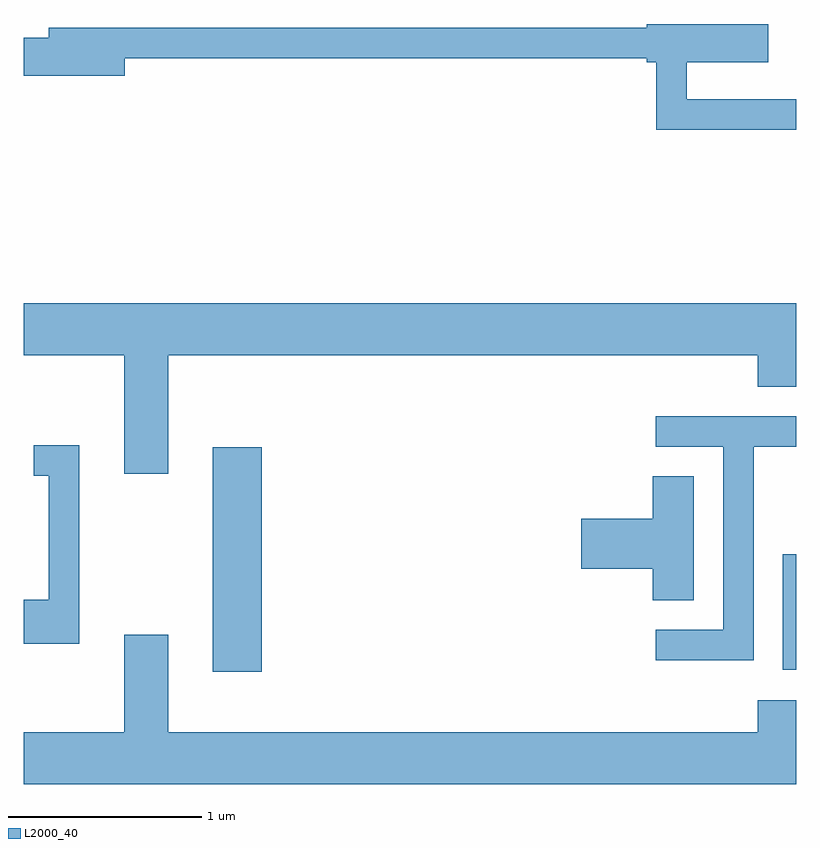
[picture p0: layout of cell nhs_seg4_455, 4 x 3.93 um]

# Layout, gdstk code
import gdstk
lib = gdstk.Library(unit=1e-6, precision=1e-09)
def R(c, l, rs):  # rectangles x0, y0, x1, y1
    for r in rs: c.add(gdstk.rectangle(r[:2], r[2:], *l))
def P(c, l, *ps):  # polygons
    for p in ps: c.add(gdstk.Polygon(p, *l))
L2000_40 = (2000, 40)

nhs_seg4_455 = lib.new_cell('nhs_seg4_455')
R(nhs_seg4_455, L2000_40, [(198.591,1348.596,198.844,1349.759), (201.541,1348.606,201.611,1349.204)])
P(nhs_seg4_455, L2000_40, [(201.611,1351.559),(201.044,1351.559),(201.044,1351.751),(201.464,1351.751),(201.464,1351.949),(200.836,1351.949),(200.836,1351.929),(197.741,1351.929),(197.741,1351.879),(197.611,1351.879),(197.611,1351.681),(198.134,1351.681),(198.134,1351.771),(200.836,1351.771),(200.836,1351.751),(200.886,1351.751),(200.886,1351.401),(201.611,1351.401)],
  [(198.359,1350.236),(201.411,1350.236),(201.411,1350.071),(201.611,1350.071),(201.611,1350.504),(197.611,1350.504),(197.611,1350.236),(198.131,1350.236),(198.131,1349.621),(198.359,1349.621)],
  [(201.389,1349.761),(201.611,1349.761),(201.611,1349.919),(200.883,1349.919),(200.883,1349.761),(201.231,1349.761),(201.231,1348.814),(200.883,1348.814),(200.883,1348.656),(201.389,1348.656)],
  [(197.899,1349.769),(197.663,1349.769),(197.663,1349.611),(197.741,1349.611),(197.741,1348.969),(197.611,1348.969),(197.611,1348.741),(197.899,1348.741)],
  [(201.079,1349.609),(200.866,1349.609),(200.866,1349.389),(200.496,1349.389),(200.496,1349.131),(200.866,1349.131),(200.866,1348.966),(201.079,1348.966)],
  [(201.611,1348.449),(201.411,1348.449),(201.411,1348.284),(198.359,1348.284),(198.359,1348.789),(198.131,1348.789),(198.131,1348.284),(197.611,1348.284),(197.611,1348.016),(201.611,1348.016)])

lib.write_gds('nhs_seg4_455.gds')
